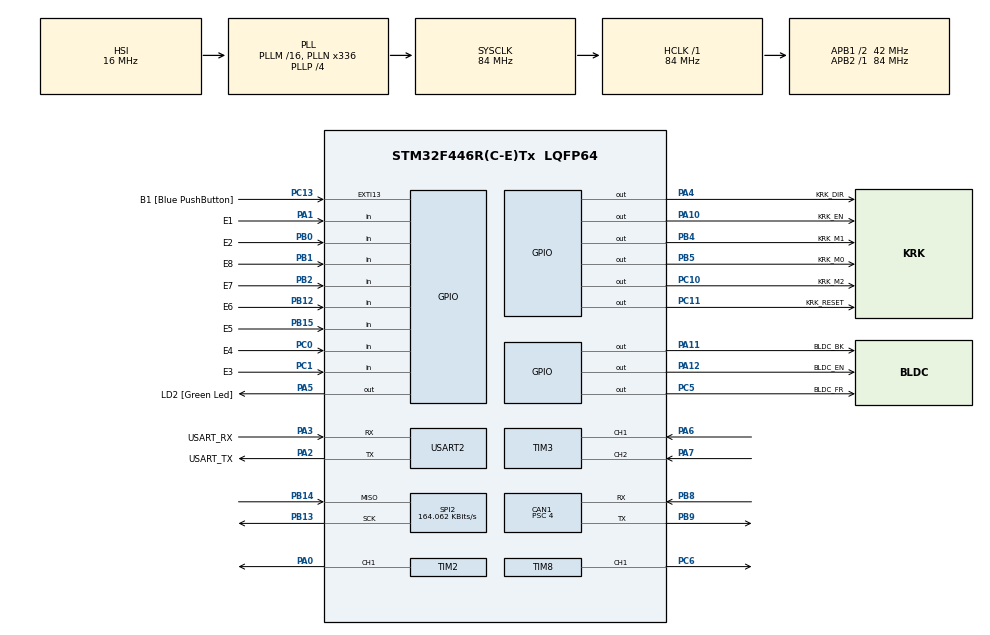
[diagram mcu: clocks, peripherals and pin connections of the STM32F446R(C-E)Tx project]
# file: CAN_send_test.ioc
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CAN1.BS1=CAN_BS1_14TQ
CAN1.BS2=CAN_BS2_6TQ
CAN1.CalculateBaudRate=500000
CAN1.CalculateTimeBit=2000
CAN1.CalculateTimeQuantum=95.23809523809524
CAN1.Mode=CAN_MODE_NORMAL
CAN1.NART=ENABLE
CAN1.Prescaler=4
Mcu.Family=STM32F4
Mcu.Name=STM32F446R(C-E)Tx
Mcu.Package=LQFP64
NVIC.CAN1_RX0_IRQn=true\:0\:0\:false\:false\:true\:true\:true\:true
NVIC.PriorityGroup=NVIC_PRIORITYGROUP_0
NVIC.TIM1_UP_TIM10_IRQn=true\:0\:1\:false\:false\:true\:true\:true\:true
PA0-WKUP.GPIO_PuPd=GPIO_NOPULL
PA0-WKUP.Signal=S_TIM2_CH1_ETR
PA1.GPIO_Label=E1
PA1.GPIO_PuPd=GPIO_PULLUP
PA1.Signal=GPIO_Input
PA10.GPIO_Label=KRK_EN
PA10.GPIO_PuPd=GPIO_NOPULL
PA10.Signal=GPIO_Output
PA11.GPIO_Label=BLDC_BK
PA11.GPIO_PuPd=GPIO_PULLUP
PA11.Signal=GPIO_Output
PA12.GPIO_Label=BLDC_EN
PA12.Signal=GPIO_Output
PA13.GPIO_Label=TMS
PA13.Mode=Serial_Wire
PA13.Signal=SYS_JTMS-SWDIO
PA14.GPIO_Label=TCK
PA14.Mode=Serial_Wire
PA14.Signal=SYS_JTCK-SWCLK
PA2.GPIO_Label=USART_TX
PA2.Mode=Asynchronous
PA2.Signal=USART2_TX
PA3.GPIO_Label=USART_RX
PA3.Mode=Asynchronous
PA3.Signal=USART2_RX
PA4.GPIO_Label=KRK_DIR
PA4.Signal=GPIO_Output
PA5.GPIO_Label=LD2 [Green Led]
PA5.Signal=GPIO_Output
PA6.Signal=S_TIM3_CH1
PA7.Signal=S_TIM3_CH2
PB0.GPIO_Label=E2
PB0.GPIO_PuPd=GPIO_PULLUP
PB0.Signal=GPIO_Input
PB1.GPIO_Label=E8
PB1.GPIO_PuPd=GPIO_PULLUP
PB1.Signal=GPIO_Input
PB12.GPIO_Label=E6
PB12.GPIO_PuPd=GPIO_PULLUP
PB12.Signal=GPIO_Input
PB13.Mode=RX_Only_Simplex_Unidirect_Master
PB13.Signal=SPI2_SCK
PB14.Mode=RX_Only_Simplex_Unidirect_Master
PB14.Signal=SPI2_MISO
PB15.GPIO_Label=E5
PB15.GPIO_PuPd=GPIO_PULLUP
PB15.Signal=GPIO_Input
PB2.GPIO_Label=E7
PB2.GPIO_PuPd=GPIO_PULLUP
PB2.Signal=GPIO_Input
PB3.GPIO_Label=SWO
PB3.Signal=SYS_JTDO-SWO
PB4.GPIO_Label=KRK_M1
PB4.Signal=GPIO_Output
PB5.GPIO_Label=KRK_M0
PB5.Signal=GPIO_Output
PB8.Mode=CAN_Activate
PB8.Signal=CAN1_RX
PB9.Mode=CAN_Activate
PB9.Signal=CAN1_TX
PC0.GPIO_Label=E4
PC0.GPIO_PuPd=GPIO_PULLUP
PC0.Signal=GPIO_Input
PC1.GPIO_Label=E3
PC1.GPIO_PuPd=GPIO_PULLUP
PC1.Signal=GPIO_Input
PC10.GPIO_Label=KRK_M2
PC10.Signal=GPIO_Output
PC11.GPIO_Label=KRK_RESET
PC11.Signal=GPIO_Output
PC13.GPIO_Label=B1 [Blue PushButton]
PC13.GPIO_ModeDefaultEXTI=GPIO_MODE_IT_FALLING
PC13.Signal=GPXTI13
PC14-OSC32_IN.Mode=LSE-External-Oscillator
PC14-OSC32_IN.Signal=RCC_OSC32_IN
PC15-OSC32_OUT.Mode=LSE-External-Oscillator
PC15-OSC32_OUT.Signal=RCC_OSC32_OUT
PC5.GPIO_Label=BLDC_FR
PC5.Signal=GPIO_Output
PC6.GPIO_PuPd=GPIO_NOPULL
PC6.GPIO_Speed=GPIO_SPEED_FREQ_LOW
PC6.Signal=S_TIM8_CH1
PH0-OSC_IN.Mode=HSE-External-Oscillator
PH0-OSC_IN.Signal=RCC_OSC_IN
PH1-OSC_OUT.Mode=HSE-External-Oscillator
PH1-OSC_OUT.Signal=RCC_OSC_OUT
ProjectManager.HeapSize=0x200
ProjectManager.StackSize=0x400
ProjectManager.TargetToolchain=STM32CubeIDE
RCC.48MHZClocksFreq_Value=84000000
RCC.AHBFreq_Value=84000000
RCC.APB1CLKDivider=RCC_HCLK_DIV2
RCC.APB1Freq_Value=42000000
RCC.APB1TimFreq_Value=84000000
RCC.APB2Freq_Value=84000000
RCC.APB2TimFreq_Value=84000000
RCC.CortexFreq_Value=84000000
RCC.FLatency-AdvancedSettings=FLASH_LATENCY_2
RCC.HCLKFreq_Value=84000000
RCC.HSE_VALUE=8000000
RCC.HSI_VALUE=16000000
RCC.PLLN=336
RCC.PLLP=RCC_PLLP_DIV4
RCC.SYSCLKFreq_VALUE=84000000
RCC.SYSCLKSource=RCC_SYSCLKSOURCE_PLLCLK
RCC.USBFreq_Value=168000000
RCC.VCOOutputFreq_Value=336000000
SH.S_TIM2_CH1_ETR.0=TIM2_CH1,PWM Generation1 CH1
SH.S_TIM3_CH1.0=TIM3_CH1,Encoder_Interface
SH.S_TIM3_CH2.0=TIM3_CH2,Encoder_Interface
SH.S_TIM8_CH1.0=TIM8_CH1,PWM Generation1 CH1
SPI2.BaudRatePrescaler=SPI_BAUDRATEPRESCALER_256
SPI2.CLKPhase=SPI_PHASE_2EDGE
SPI2.CLKPolarity=SPI_POLARITY_HIGH
SPI2.CRCCalculation=SPI_CRCCALCULATION_DISABLE
SPI2.CalculateBaudRate=164.062 KBits/s
SPI2.DataSize=SPI_DATASIZE_8BIT
SPI2.Direction=SPI_DIRECTION_2LINES_RXONLY
SPI2.Mode=SPI_MODE_MASTER
SPI2.VirtualType=VM_MASTER
TIM10.Period=999
TIM10.Prescaler=839
TIM2.Channel-PWM\ Generation1\ CH1=TIM_CHANNEL_1
TIM2.Period=99
TIM2.Prescaler=89
TIM3.EncoderMode=TIM_ENCODERMODE_TI12
TIM8.Channel-PWM\ Generation1\ CH1=TIM_CHANNEL_1
TIM8.OCFastMode_PWM-PWM\ Generation1\ CH1=TIM_OCFAST_ENABLE
TIM8.OCMode_PWM-PWM\ Generation1\ CH1=TIM_OCMODE_PWM2
TIM8.OCPolarity_1=TIM_OCPOLARITY_LOW
TIM8.Period=999
TIM8.Prescaler=6
USART2.VirtualMode=VM_ASYNC
VP_TIM10_VS_ClockSourceINT.Mode=Enable_Timer
VP_TIM2_VS_ClockSourceINT.Mode=Internal
VP_TIM8_VS_ClockSourceINT.Mode=Internal
board=NUCLEO-F446RE

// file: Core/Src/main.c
/* USER CODE BEGIN Header */
/**
  ******************************************************************************
  * @file           : main.c
  * @brief          : Main program body
  ******************************************************************************
  * @attention
  *
  * Copyright (c) 2026 STMicroelectronics.
  * All rights reserved.
  *
  * This software is licensed under terms that can be found in the LICENSE file
  * in the root directory of this software component.
  * If no LICENSE file comes with this software, it is provided AS-IS.
  *
  ******************************************************************************
  */
/* USER CODE END Header */
#include "main.h"
#include "can.h"
#include "spi.h"
#include "tim.h"
#include "usart.h"
#include "gpio.h"

/* USER CODE BEGIN Includes */
#include <stdio.h>
#include <math.h>

#include "tim.h"
#include "ALL_STRUCT.h"          //to moja bibliteka od ogólnego sterowania
#include "BLDC_MOTOR.h"          //to moja bibliteka od sterowania silnikami bldc
#include "ABS_ENCODER.h"         //to moja bibliteka od enodera absolutnego
/* USER CODE END Includes */

/* USER CODE BEGIN PTD */
//int tab[11] = {53, -1, -1, -1, 1, 1, 0, 0, 0, 0, 1}; //to prawe przód
//int tab[11] = {-109, -1, -1, 1, 2, 2, 0, 0, 0, 0, -1 };//to prawe tył
//int tab[11] = {42, 1, 1, 1, 3, 3, 0, 0, 0, 0, -1};//to lewe przód
int tab[11] = {-125, 1, 1, -1, 4, 4, 0, 0, 0, 0, 1 };//to lewe tył
//0 wartosc to kat zero stopni
//1 wartosc to zmiana predkosci x_lin na przeciwny
//2 wartosc to zmiana predkosci y_lin
//3 wartosc to zmiana predkosci z_ang
//4 wartośc to wybór koła w trybie jazdy po łuku
//5 wartośc to nazwa w joint_states

volatile uint32_t PG_counter = 0;//to zmienna do zapisywania ilosci impulsów ze sterownika bldc - do predkosci
/* USER CODE END PTD */

/* USER CODE BEGIN PV */
volatile uint8_t flag_10ms = 0;   //to flagi z przerwania co określony czas
volatile uint8_t flag_50ms = 0;
volatile uint8_t flag_100ms = 0;
volatile uint8_t flag_1000ms = 0;

volatile uint16_t can_timeout_counter = 0; //to zmienna która mówi nami kiedy ostani raz przyszła poprawna ramka danych z can wartosc 10 to 100ms

float lin_x = 0.0f;
float lin_y= 0.0f;
float lin_z= 0.0f;
float ang_z= 0.0f;

float x=0; // to kąt z abs
float y=0;

uint8_t bity_enkodera[8];
int dec=0;
float kat;

WHEEL_Type Wheel; //tworzę obiekt

// --- ZMIENNE DO WYSYŁKI ---
CAN_TxHeaderTypeDef TxHeader;  // Struktura nagłówka ramki CAN
uint8_t TxData[8];             // Tablica z danymi (8 bajtów)
uint32_t TxMailbox;            // Zmienna przechowująca przypisany mailbox

// --- ZMIENNE DO ODBIORU ---
CAN_RxHeaderTypeDef RxHeader;  // Struktura nagłówka ramki odebranej
uint8_t RxData[8];             // Tablica na odebrane dane
volatile uint32_t RxCounter = 0; // Licznik odebranych ramek o ID 0x100
/* USER CODE END PV */

void SystemClock_Config(void);
/* USER CODE BEGIN PFP */
void emergency_stop(void);
void PackWheelJointStateData(uint8_t *target_buffer, float current_angle_deg, WHEEL_Type *key); // to prototyp funkcji która wysyła dane do jointstates
/* USER CODE END PFP */

int main(void)
{

  /* MCU Configuration--------------------------------------------------------*/

  /* Reset of all peripherals, Initializes the Flash interface and the Systick. */
  HAL_Init();

  /* USER CODE BEGIN Init */
  GenerateVelTab(&Wheel,tab);        //Generuje tablicę zmiany prędkosci - teraz tylko używam podstawienia wartosci kąta zero stopni

  //dwie linikji niżej powoduja ze gdy nie ma agenta to silnik bldc nie skacze
  __HAL_TIM_SET_COMPARE(&htim8, TIM_CHANNEL_1,0);//ustawiam pwm na zero
  HAL_GPIO_WritePin(BLDC_BK_GPIO_Port, BLDC_BK_Pin, SET); //oraz nie zezwalam na prace
  //dwie linikji niżej powoduja ze gdy nie ma agenta to silnik krokowy nie skacze
  __HAL_TIM_SET_COMPARE(&htim2, TIM_CHANNEL_1, 0);
  HAL_GPIO_WritePin(KRK_RESET_GPIO_Port,KRK_RESET_Pin, RESET);

  /* USER CODE END Init */

  /* Configure the system clock */
  SystemClock_Config();

  /* Initialize all configured peripherals */
  MX_GPIO_Init();
  MX_USART2_UART_Init();
  MX_CAN1_Init();
  MX_TIM10_Init();
  MX_TIM3_Init();
  MX_SPI2_Init();
  MX_TIM8_Init();
  MX_TIM2_Init();
  /* USER CODE BEGIN 2 */

  // --- KONFIGURACJA FILTRA SPRZĘTOWEGO (TYLKO ID 0x100) ---
    CAN_FilterTypeDef sFilterConfig;
    sFilterConfig.FilterBank = 0;
    sFilterConfig.FilterMode = CAN_FILTERMODE_IDLIST;
    sFilterConfig.FilterScale = CAN_FILTERSCALE_32BIT;
    sFilterConfig.FilterIdHigh = (0x100 << 5); // Akceptujemy wyłącznie ID: 0x100
    sFilterConfig.FilterIdLow = 0x0000;
    sFilterConfig.FilterMaskIdHigh = (0x100 << 5);
    sFilterConfig.FilterMaskIdLow = 0x0000;
    sFilterConfig.FilterFIFOAssignment = CAN_FILTER_FIFO0;
    sFilterConfig.FilterActivation = ENABLE;
    sFilterConfig.SlaveStartFilterBank = 14;

    if (HAL_CAN_ConfigFilter(&hcan1, &sFilterConfig) != HAL_OK)
    {
       Error_Handler();
    }

    // 1. Konfiguracja struktury ramki nadawczej CAN
    TxHeader.DLC = 8;
    TxHeader.IDE = CAN_ID_STD;
    TxHeader.RTR = CAN_RTR_DATA;
    // DYNAMICZNE USTAWIANIE ID OD 101 DO 105 NA PODSTAWIE tab[4]
    TxHeader.StdId = 0x100 + tab[4];
    TxHeader.TransmitGlobalTime = DISABLE;

    // 2. Wypełnienie bufora danych samymi jedynkami (0xFF)
    for(int i = 0; i < 8; i++)
    {
        TxData[i] = 0xFF;
    }

    // 3. Start modułu CAN
    if (HAL_CAN_Start(&hcan1) != HAL_OK)
    {
        Error_Handler();
    }

    // 4. Włączenie przerwań odbioru
    HAL_CAN_ActivateNotification(&hcan1, CAN_IT_RX_FIFO0_MSG_PENDING);
    HAL_CAN_ActivateNotification(&hcan1, CAN_IT_ERROR);
    HAL_CAN_ActivateNotification(&hcan1, CAN_IT_BUSOFF);
    HAL_CAN_ActivateNotification(&hcan1, CAN_IT_TX_MAILBOX_EMPTY);

    HAL_TIM_Base_Start_IT(&htim10);  //to start timera 10 w trybie przerwaniowym
    HAL_TIM_PWM_Start(&htim8, TIM_CHANNEL_1); //to start PWM do silnika bldc
    HAL_TIM_PWM_Start(&htim2, TIM_CHANNEL_1); //to start PWM do silnika krokowego
    HAL_TIM_Encoder_Start(&htim3, TIM_CHANNEL_ALL); //to start timera od enkoderów
  /* USER CODE END 2 */

  /* Infinite loop */
  while (1)
  {

  }
}

void SystemClock_Config(void)
{
  RCC_OscInitTypeDef RCC_OscInitStruct = {0};
  RCC_ClkInitTypeDef RCC_ClkInitStruct = {0};

  /** Configure the main internal regulator output voltage
  */
  __HAL_RCC_PWR_CLK_ENABLE();
  __HAL_PWR_VOLTAGESCALING_CONFIG(PWR_REGULATOR_VOLTAGE_SCALE3);

  /** Initializes the RCC Oscillators according to the specified parameters
  * in the RCC_OscInitTypeDef structure.
  */
  RCC_OscInitStruct.OscillatorType = RCC_OSCILLATORTYPE_HSI;
  RCC_OscInitStruct.HSIState = RCC_HSI_ON;
  RCC_OscInitStruct.HSICalibrationValue = RCC_HSICALIBRATION_DEFAULT;
  RCC_OscInitStruct.PLL.PLLState = RCC_PLL_ON;
  RCC_OscInitStruct.PLL.PLLSource = RCC_PLLSOURCE_HSI;
  RCC_OscInitStruct.PLL.PLLM = 16;
  RCC_OscInitStruct.PLL.PLLN = 336;
  RCC_OscInitStruct.PLL.PLLP = RCC_PLLP_DIV4;
  RCC_OscInitStruct.PLL.PLLQ = 2;
  RCC_OscInitStruct.PLL.PLLR = 2;
  if (HAL_RCC_OscConfig(&RCC_OscInitStruct) != HAL_OK)
  {
    Error_Handler();
  }

  /** Initializes the CPU, AHB and APB buses clocks
  */
  RCC_ClkInitStruct.ClockType = RCC_CLOCKTYPE_HCLK|RCC_CLOCKTYPE_SYSCLK
                              |RCC_CLOCKTYPE_PCLK1|RCC_CLOCKTYPE_PCLK2;
  RCC_ClkInitStruct.SYSCLKSource = RCC_SYSCLKSOURCE_PLLCLK;
  RCC_ClkInitStruct.AHBCLKDivider = RCC_SYSCLK_DIV1;
  RCC_ClkInitStruct.APB1CLKDivider = RCC_HCLK_DIV2;
  RCC_ClkInitStruct.APB2CLKDivider = RCC_HCLK_DIV1;

  if (HAL_RCC_ClockConfig(&RCC_ClkInitStruct, FLASH_LATENCY_2) != HAL_OK)
  {
    Error_Handler();
  }
}

/* USER CODE BEGIN 4 */
void HAL_CAN_RxFifo0MsgPendingCallback(CAN_HandleTypeDef *hcan)
{
    // Pętla while opróżnia całe FIFO, żeby się nie zapchało
    while (HAL_CAN_GetRxFifoFillLevel(hcan, CAN_RX_FIFO0) > 0)
    {
        if (HAL_CAN_GetRxMessage(hcan, CAN_RX_FIFO0, &RxHeader, RxData) == HAL_OK)
        {
            // Testowe mignięcie diodą przy odbiorze ramki
            HAL_GPIO_TogglePin(LD2_GPIO_Port, LD2_Pin);

            if (RxHeader.StdId == 0x100)
            {
                RxCounter++; // Zwiększ licznik testowy

                int16_t *rawValues = (int16_t*)RxData;

                lin_x = rawValues[0] / 1000.0f;
                lin_y = rawValues[1] / 1000.0f;
                lin_z = rawValues[2] / 1000.0f;
                ang_z = rawValues[3] / 1000.0f;

                ReadNewCmdVel(lin_x, lin_y, lin_z, ang_z, &Wheel, tab);

                can_timeout_counter = 0; // Reset timeoutu
            }
        }
    }
}

void HAL_TIM_PeriodElapsedCallback(TIM_HandleTypeDef *htim) // to do przerwań z timerów
{
	if (htim->Instance == TIM10) //ten jest co 10ms
	{
		static uint16_t cnt = 0;
		cnt++;

		flag_10ms = 1; // Zawsze co 10ms

		if (can_timeout_counter < 250)
		{
			can_timeout_counter++;
		}
		else if (can_timeout_counter == 250)
		{// Minęła dokładnie 2,5 sekundy bez nowej ramki!
			lin_x = 0.0f; //wymuszamy same zera
			lin_y = 0.0f;
			lin_z = 0.0f;
			ang_z = 0.0f;
			ReadNewCmdVel(lin_x, lin_y, lin_z, ang_z, &Wheel, tab);

			can_timeout_counter++;
		}

		if (cnt % 5 == 0)
		{
			flag_50ms = 1;

			bity_enkodera[0] = (HAL_GPIO_ReadPin(E1_GPIO_Port, E1_Pin) == GPIO_PIN_SET) ? 1 : 0;
	        bity_enkodera[1] = (HAL_GPIO_ReadPin(E2_GPIO_Port, E2_Pin) == GPIO_PIN_SET) ? 1 : 0;
			bity_enkodera[2] = (HAL_GPIO_ReadPin(E3_GPIO_Port, E3_Pin) == GPIO_PIN_SET) ? 1 : 0;
			bity_enkodera[3] = (HAL_GPIO_ReadPin(E4_GPIO_Port, E4_Pin) == GPIO_PIN_SET) ? 1 : 0;
			bity_enkodera[4] = (HAL_GPIO_ReadPin(E5_GPIO_Port, E5_Pin) == GPIO_PIN_SET) ? 1 : 0;
			bity_enkodera[5] = (HAL_GPIO_ReadPin(E6_GPIO_Port, E6_Pin) == GPIO_PIN_SET) ? 1 : 0;
			bity_enkodera[6] = (HAL_GPIO_ReadPin(E7_GPIO_Port, E7_Pin) == GPIO_PIN_SET) ? 1 : 0;
			bity_enkodera[7] = (HAL_GPIO_ReadPin(E8_GPIO_Port, E8_Pin) == GPIO_PIN_SET) ? 1 : 0;

			dec=bity_enkodera[0]*1 + bity_enkodera[1]*2 + bity_enkodera[2]*4 + bity_enkodera[3]*8 + bity_enkodera[4]*16 + bity_enkodera[5]*32 + bity_enkodera[6]*64 + bity_enkodera[7]*128;

			//y=Odczytaj_Kat_Enkodera(dec);
			y = AbsoluteEncoder_getContinuousAngle();
			x = NormalizeAngle(y - Wheel.zero_angle);

			// Kontrola silnika krokowego
			//HAL_GPIO_WritePin(KRK_EN_GPIO_Port, KRK_EN_Pin, RESET);
			__HAL_TIM_SET_COMPARE(&htim2, TIM_CHANNEL_1, StepperMotor(&Wheel, x));
			flag_50ms = 1;
		}
		if (cnt % 10 == 0)
		{
			flag_100ms = 1;
			ReadVelocityFromPGPin_Hall(PG_counter,htim3.Instance->CNT,&Wheel); //ta funkcja oblicza predkosc z halli czyli enkoder_mode i pinu PG

			PID(&Wheel);//wywołanie PID
			__HAL_TIM_SET_COMPARE(&htim8, TIM_CHANNEL_1,abs(Wheel.motor_siganl));//ustawienie PWM na koła
			HAL_GPIO_WritePin(BLDC_FR_GPIO_Port, BLDC_FR_Pin,(Wheel.motor_siganl>0)?RESET:SET);//ustawinie kierunku w zależnosci od znaku predkosci

			PackWheelJointStateData(TxData, x, &Wheel); //pakowanie ramki do wysyłki

			// WPISANIE WŁAŚCIWEGO ID KOŁA TUŻ PRZED WYSYŁKĄ
			TxHeader.StdId = 0x100 + tab[4];

			if (HAL_CAN_GetTxMailboxesFreeLevel(&hcan1) == 0)
			    {
			        HAL_CAN_AbortTxRequest(&hcan1, CAN_TX_MAILBOX0 | CAN_TX_MAILBOX1 | CAN_TX_MAILBOX2);
			    }

			    // Teraz bezpiecznie wysyłamy najnowszą ramkę cykliczną
			    if (HAL_CAN_GetTxMailboxesFreeLevel(&hcan1) > 0)
			    {
			        HAL_CAN_AddTxMessage(&hcan1, &TxHeader, TxData, &TxMailbox);
			    }
		}
		if (cnt % 100 == 0)
		{
			//y = AbsoluteEncoder_getContinuousAngle();
			flag_1000ms = 1;
		}
		if (cnt >= 200) cnt = 0;
		if(Wheel.motor_siganl!=0)//to zapobiega tykaniu oraz powoduje że koło odrazu sie zatrzymuje
		{
			HAL_GPIO_WritePin(BLDC_BK_GPIO_Port, BLDC_BK_Pin, RESET);
		}
		if(Wheel.motor_siganl==0)
		{
			HAL_GPIO_WritePin(BLDC_BK_GPIO_Port, BLDC_BK_Pin, SET);
		}
	}
}

void emergency_stop(void)
{
	__HAL_TIM_SET_COMPARE(&htim8, TIM_CHANNEL_1, 0); //Ustawiam PWM na silnik BLDC na zero
	__HAL_TIM_SET_COMPARE(&htim2, TIM_CHANNEL_1, 0); //Ustawiam PWM na silnik krokowy na zero
	HAL_GPIO_WritePin(KRK_RESET_GPIO_Port,KRK_RESET_Pin, RESET);
	HAL_GPIO_WritePin(KRK_RESET_GPIO_Port,KRK_RESET_Pin, SET);
	HAL_GPIO_WritePin(KRK_EN_GPIO_Port, KRK_EN_Pin, SET);
	HAL_GPIO_WritePin(BLDC_BK_GPIO_Port, BLDC_BK_Pin, SET);
}

void PackWheelJointStateData(uint8_t *target_buffer, float current_angle_deg, WHEEL_Type *key)
{
	// 1. Normalizacja kąta do zakresu -180 do +180 stopni
	    while (current_angle_deg > 180.0f)  current_angle_deg -= 360.0f;
	    while (current_angle_deg < -180.0f) current_angle_deg += 360.0f;

	    // 2. Konwersja na radiany (zakres od -3.1415 do +3.1415)
	    float angle_rad = current_angle_deg * (M_PI / 180.0f);

	    // Mnożnik 10000 da nam zakres od -31415 do +31415.
	    // Idealnie mieści się to w int16_t (który ma zakres -32768 do 32767)!
	    int16_t msg_steering_pos = (int16_t)(angle_rad * 10000.0f);

	    // 3. Pozycja obrotowa koła w radianach (mnożnik 10000)
	    int32_t msg_wheel_pos = (int32_t)(key->bldc_pg_data.Turns * 10000.0f);

	    // 4. Konwersja prędkości z [obr/s] na [rad/s] (mnożnik 1000)
	    float omega_rad_s = key->bldc_pg_data.RotationalSpeed * 2.0f * M_PI;
	    int16_t msg_wheel_vel = (int16_t)(omega_rad_s * 1000.0f);

	    // Kopiowanie do bufora CAN
	    memcpy(&target_buffer[0], &msg_steering_pos, 2);
	    memcpy(&target_buffer[2], &msg_wheel_pos, 4);
	    memcpy(&target_buffer[6], &msg_wheel_vel, 2);
}
/* USER CODE END 4 */

void Error_Handler(void)
{
  __disable_irq();
  while (1)
  {
  }
}
